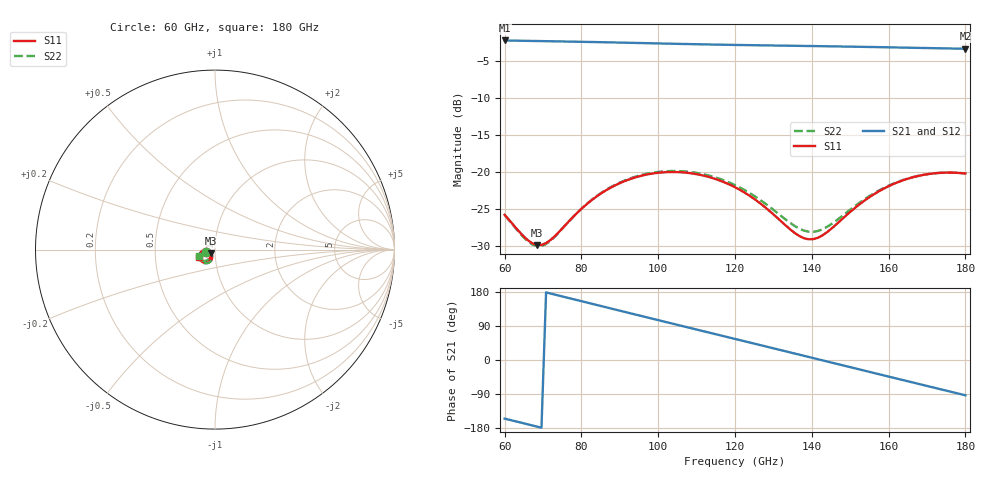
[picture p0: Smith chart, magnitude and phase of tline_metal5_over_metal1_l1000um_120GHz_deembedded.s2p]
! Created with skrf 2.2.0 (http://scikit-rf.org).
# GHz S DB R 50.0
! Port[1] = P1
! Port[2] = P2
!freq dBS11 angS11 dBS21 angS21 dBS12 angS12 dBS22 angS22
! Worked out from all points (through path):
!   101 points, 60 GHz to 180 GHz, reference 50 ohm
!   highest |S21| = -2.29 dB at 60 GHz (marker M1); lowest = -3.4 dB at 180 GHz (marker M2)
!   group delay of S21, straight-line fit = 6.91 ps
!   lowest |S11| = -29.8 dB at 68.4 GHz (marker M3), VSWR 1.07, Z = 47.6 - j2.01 ohm
!   |S11| at or under -10 dB: start of sweep to end of sweep
!   |S22| runs from -30.0 to -19.9 dB; largest |S21 - S12| = 1.3e-13
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60  -25.75 -164.6  -2.29 -154.7  -2.29 -154.7  -25.80 -164.7
66  -29.16 -151.2  -2.35 -169.7  -2.35 -169.7  -29.30 -151.0
68.4  -29.81 -139.3  -2.37 -175.7  -2.37 -175.7  -29.97 -138.6
72  -29.13 -121.2  -2.40 175.3  -2.40 175.3  -29.23 -119.8
80.4  -24.77 -108.5  -2.48 154.2  -2.48 154.2  -24.74 -107.1
85.2  -22.85 -112.5  -2.53 142.2  -2.53 142.2  -22.79 -111.1
91.2  -21.23 -121.3  -2.59 127.2  -2.59 127.2  -21.15 -119.9
96  -20.45 -129.7  -2.65 115.2  -2.65 115.2  -20.35 -128.3
100.8  -20.06 -138.5  -2.70 103.2  -2.70 103.2  -19.94 -137.0
105.6  -20.02 -147.4  -2.75 91.3  -2.75 91.3  -19.88 -145.8
110.4  -20.32 -156.0  -2.80 79.4  -2.80 79.4  -20.15 -154.2
120  -22.04 -170.7  -2.89 55.6  -2.89 55.6  -21.75 -168.5
126  -23.99 -176.0  -2.94 40.8  -2.94 40.8  -23.55 -173.4
130.8  -26.06 -175.1  -2.98 28.9  -2.98 28.9  -25.41 -172.6
136.8  -28.62 -161.0  -3.02 14.0  -3.02 14.0  -27.63 -160.7
140.4  -29.03 -145.5  -3.05 5.0  -3.05 5.0  -28.05 -147.8
144  -28.08 -131.6  -3.08 -3.9  -3.08 -3.9  -27.37 -135.6
150  -25.37 -121.7  -3.12 -18.9  -3.12 -18.9  -25.07 -125.7
154.8  -23.45 -122.3  -3.17 -30.8  -3.17 -30.8  -23.30 -125.6
160.8  -21.72 -128.1  -3.22 -45.7  -3.22 -45.7  -21.65 -130.7
170.4  -20.27 -141.8  -3.32 -69.4  -3.32 -69.4  -20.25 -143.7
180  -20.20 -156.7  -3.41 -93.1  -3.41 -93.1  -20.19 -158.2
